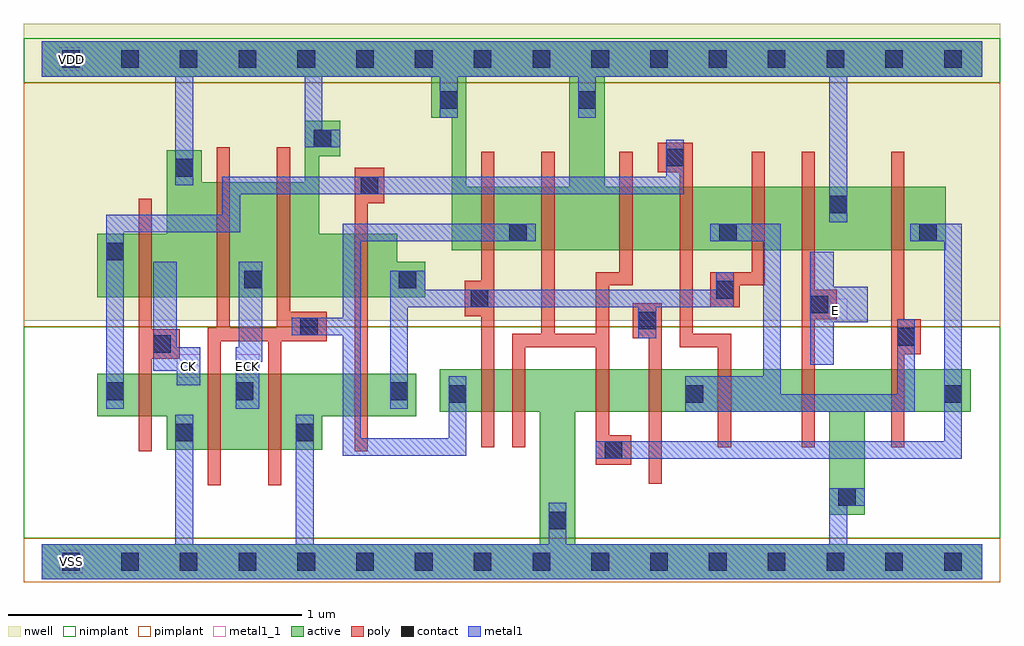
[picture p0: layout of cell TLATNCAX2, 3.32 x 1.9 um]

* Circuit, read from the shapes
.subckt TLATNCAX2 CK E ECK VDD VSS
M1 VSS CK n1 VSS nfet w=0.145u l=0.045u
M2 ECK n2 VSS VSS nfet w=0.26u l=0.045u m=2
M3 n3 n1 VSS VSS nfet w=0.145u l=0.045u
M4 n4 n3 n2 VSS nfet w=0.145u l=0.045u
M5 VSS n5 n4 VSS nfet w=0.145u l=0.045u
M6 n6 n5 VSS VSS nfet w=0.145u l=0.045u
M7 n7 n3 n6 VSS nfet w=0.145u l=0.045u
M8 n8 n1 n7 VSS nfet w=0.145u l=0.045u
M9 VSS E n8 VSS nfet w=0.145u l=0.045u
M10 n5 n7 VSS VSS nfet w=0.145u l=0.045u
M11 VDD CK n1 VDD pfet w=0.215u l=0.045u
M12 ECK n2 VDD VDD pfet w=0.39u l=0.045u m=2
M13 n3 n1 VDD VDD pfet w=0.215u l=0.045u
M14 n2 n3 VDD VDD pfet w=0.215u l=0.045u
M15 VDD n5 n2 VDD pfet w=0.215u l=0.045u
M16 n9 n5 VDD VDD pfet w=0.215u l=0.045u
M17 n7 n1 n9 VDD pfet w=0.215u l=0.045u
M18 n10 n3 n7 VDD pfet w=0.215u l=0.045u
M19 VDD E n10 VDD pfet w=0.215u l=0.045u
M20 n5 n7 VDD VDD pfet w=0.215u l=0.045u
.ends

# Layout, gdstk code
import gdstk
lib = gdstk.Library(unit=1e-6, precision=5e-10)
def R(c, l, rs):  # rectangles x0, y0, x1, y1
    for r in rs: c.add(gdstk.rectangle(r[:2], r[2:], *l))
def A(c, l, x, y, w, h, nx, ny, dx, dy):  # array of equal rectangles
    R(c, l, [(x+i*dx, y+j*dy, x+i*dx+w, y+j*dy+h) for i in range(nx) for j in range(ny)])
def P(c, l, *ps):  # polygons
    for p in ps: c.add(gdstk.Polygon(p, *l))
active = (1, 0)
nwell = (2, 0)
poly = (3, 0)
nimplant = (4, 0)
pimplant = (5, 0)
contact = (6, 0)
metal1 = (7, 0)
metal1_1 = (7, 1)

tlatncax2 = lib.new_cell('TLATNCAX2')
P(tlatncax2, active, [(0,1.77),(3.2,1.77),(3.2,1.65),(1.915,1.65),(1.915,1.275),(3.075,1.275),(3.075,1.06),(1.395,1.06),(1.395,1.51),(1.325,1.51),(1.325,1.65),(1.445,1.65),(1.445,1.275),(1.795,1.275),(1.795,1.65),(0,1.65)],
  [(0.425,1.4),(0.545,1.4),(0.545,1.29),(0.895,1.29),(0.895,1.5),(1.015,1.5),(1.015,1.38),(0.945,1.38),(0.945,1.115),(1.21,1.115),(1.21,1.02),(1.305,1.02),(1.305,0.9),(0.19,0.9),(0.19,1.115),(0.425,1.115)],
  [(0.19,0.64),(1.275,0.64),(1.275,0.495),(0.955,0.495),(0.955,0.38),(0.425,0.38),(0.425,0.495),(0.19,0.495)],
  [(1.355,0.655),(3.16,0.655),(3.16,0.51),(2.8,0.51),(2.8,0.16),(2.68,0.16),(2.68,0.51),(1.815,0.51),(1.815,0.06),(3.2,0.06),(3.2,-0.06),(0,-0.06),(0,0.06),(1.695,0.06),(1.695,0.51),(1.355,0.51)])
R(tlatncax2, nwell, [(-0.06,0.82,3.26,1.83)])
P(tlatncax2, poly, [(0.595,1.41),(0.64,1.41),(0.64,0.795),(0.8,0.795),(0.8,1.41),(0.845,1.41),(0.845,0.85),(0.97,0.85),(0.97,0.75),(0.815,0.75),(0.815,0.26),(0.77,0.26),(0.77,0.75),(0.61,0.75),(0.61,0.26),(0.565,0.26),(0.565,0.795),(0.595,0.795)],
  [(1.065,1.34),(1.165,1.34),(1.165,1.22),(1.11,1.22),(1.11,0.375),(1.065,0.375)],
  [(0.33,1.235),(0.375,1.235),(0.375,0.79),(0.47,0.79),(0.47,0.69),(0.375,0.69),(0.375,0.375),(0.33,0.375)],
  [(1.495,1.395),(1.54,1.395),(1.54,0.39),(1.495,0.39),(1.495,0.835),(1.44,0.835),(1.44,0.955),(1.495,0.955)],
  [(1.7,1.395),(1.745,1.395),(1.745,0.775),(1.885,0.775),(1.885,0.985),(1.965,0.985),(1.965,1.395),(2.01,1.395),(2.01,0.94),(1.93,0.94),(1.93,0.43),(2.005,0.43),(2.005,0.33),(1.885,0.33),(1.885,0.73),(1.645,0.73),(1.645,0.39),(1.6,0.39),(1.6,0.775),(1.7,0.775)],
  [(2.095,1.425),(2.215,1.425),(2.215,0.775),(2.345,0.775),(2.345,0.39),(2.3,0.39),(2.3,0.73),(2.17,0.73),(2.17,1.325),(2.095,1.325)],
  [(2.415,1.395),(2.46,1.395),(2.46,0.94),(2.375,0.94),(2.375,0.865),(2.275,0.865),(2.275,0.985),(2.415,0.985)],
  [(2.585,1.395),(2.63,1.395),(2.63,0.925),(2.705,0.925),(2.705,0.825),(2.63,0.825),(2.63,0.39),(2.585,0.39)],
  [(2.89,1.395),(2.935,1.395),(2.935,0.825),(2.99,0.825),(2.99,0.705),(2.935,0.705),(2.935,0.39),(2.89,0.39)],
  [(2.01,0.88),(2.11,0.88),(2.11,0.265),(2.065,0.265),(2.065,0.76),(2.01,0.76)])
R(tlatncax2, nimplant, [(-0.06,0.08,3.26,0.8), (-0.06,1.63,3.26,1.78)])
R(tlatncax2, pimplant, [(-0.06,-0.07,3.26,0.08), (-0.06,0.8,3.26,1.63)])
A(tlatncax2, contact, 0.07, -0.03, 0.06, 0.06, 16, 2, 0.2, 1.71)
R(tlatncax2, contact, [(1.725,0.11,1.785,0.17), (2.71,0.19,2.77,0.25), (1.915,0.35,1.975,0.41), (0.455,0.41,0.515,0.47), (0.865,0.41,0.925,0.47), (1.385,0.54,1.445,0.6), (2.19,0.54,2.25,0.6), (3.07,0.54,3.13,0.6), (0.22,0.55,0.28,0.61), (0.66,0.55,0.72,0.61), (1.185,0.55,1.245,0.61), (0.38,0.71,0.44,0.77), (2.91,0.735,2.97,0.795), (0.88,0.77,0.94,0.83), (2.03,0.79,2.09,0.85), (2.615,0.845,2.675,0.905), (1.46,0.865,1.52,0.925), (2.295,0.895,2.355,0.955), (0.69,0.93,0.75,0.99), (1.215,0.93,1.275,0.99), (0.22,1.025,0.28,1.085), (1.59,1.09,1.65,1.15), (2.305,1.09,2.365,1.15), (2.985,1.09,3.045,1.15), (2.68,1.185,2.74,1.245), (1.085,1.25,1.145,1.31), (0.455,1.31,0.515,1.37), (2.125,1.345,2.185,1.405), (0.925,1.41,0.985,1.47), (1.355,1.54,1.415,1.6), (1.825,1.54,1.885,1.6)])
P(tlatncax2, metal1, [(0,1.77),(3.2,1.77),(3.2,1.65),(2.74,1.65),(2.74,1.155),(2.68,1.155),(2.68,1.65),(1.885,1.65),(1.885,1.51),(1.825,1.51),(1.825,1.65),(1.415,1.65),(1.415,1.51),(1.355,1.51),(1.355,1.65),(0.955,1.65),(0.955,1.47),(1.015,1.47),(1.015,1.41),(0.895,1.41),(0.895,1.65),(0.515,1.65),(0.515,1.28),(0.455,1.28),(0.455,1.65),(0,1.65)],
  [(2.125,1.435),(2.185,1.435),(2.185,1.25),(0.675,1.25),(0.675,1.12),(0.28,1.12),(0.28,0.52),(0.22,0.52),(0.22,1.18),(0.615,1.18),(0.615,1.31),(2.125,1.31)],
  [(1.025,1.15),(1.68,1.15),(1.68,1.09),(1.085,1.09),(1.085,0.42),(1.385,0.42),(1.385,0.63),(1.445,0.63),(1.445,0.36),(1.025,0.36),(1.025,0.77),(0.85,0.77),(0.85,0.83),(1.025,0.83)],
  [(0.67,1.02),(0.75,1.02),(0.75,0.68),(0.74,0.68),(0.74,0.52),(0.66,0.52),(0.66,0.73),(0.67,0.73)],
  [(0.38,1.02),(0.46,1.02),(0.46,0.73),(0.54,0.73),(0.54,0.6),(0.46,0.6),(0.46,0.65),(0.38,0.65)],
  [(2.275,1.15),(2.515,1.15),(2.515,0.57),(2.91,0.57),(2.91,0.825),(2.97,0.825),(2.97,0.51),(2.19,0.51),(2.19,0.63),(2.455,0.63),(2.455,1.09),(2.275,1.09)],
  [(2.955,1.15),(3.13,1.15),(3.13,0.35),(1.885,0.35),(1.885,0.41),(3.07,0.41),(3.07,1.09),(2.955,1.09)],
  [(1.185,0.99),(1.305,0.99),(1.305,0.925),(2.295,0.925),(2.295,0.985),(2.355,0.985),(2.355,0.865),(2.09,0.865),(2.09,0.76),(2.03,0.76),(2.03,0.865),(1.245,0.865),(1.245,0.52),(1.185,0.52)],
  [(0.455,0.5),(0.515,0.5),(0.515,0.06),(0.865,0.06),(0.865,0.5),(0.925,0.5),(0.925,0.06),(1.725,0.06),(1.725,0.2),(1.785,0.2),(1.785,0.06),(2.68,0.06),(2.68,0.25),(2.8,0.25),(2.8,0.19),(2.74,0.19),(2.74,0.06),(3.2,0.06),(3.2,-0.06),(0,-0.06),(0,0.06),(0.455,0.06)],
  [(2.615,1.055),(2.695,1.055),(2.695,0.935),(2.81,0.935),(2.81,0.815),(2.695,0.815),(2.695,0.67),(2.615,0.67)])
R(tlatncax2, metal1_1, [(0.06,-0.04,0.14,0.04), (0.46,0.625,0.54,0.705), (0.66,0.625,0.74,0.705), (2.66,0.815,2.74,0.895), (0.06,1.67,0.14,1.75)])
tlatncax2.add(gdstk.Label('ECK', (0.7,0.665), layer=7, texttype=1))
tlatncax2.add(gdstk.Label('E', (2.7,0.855), layer=7, texttype=1))
tlatncax2.add(gdstk.Label('CK', (0.5,0.665), layer=7, texttype=1))
tlatncax2.add(gdstk.Label('VDD', (0.1,1.71), layer=7, texttype=1))
tlatncax2.add(gdstk.Label('VSS', (0.1,0), layer=7, texttype=1))
tlatncax2.add(gdstk.Label('TLATNCAX2', (0,0), layer=63, texttype=0))

lib.write_gds('TLATNCAX2.gds')
